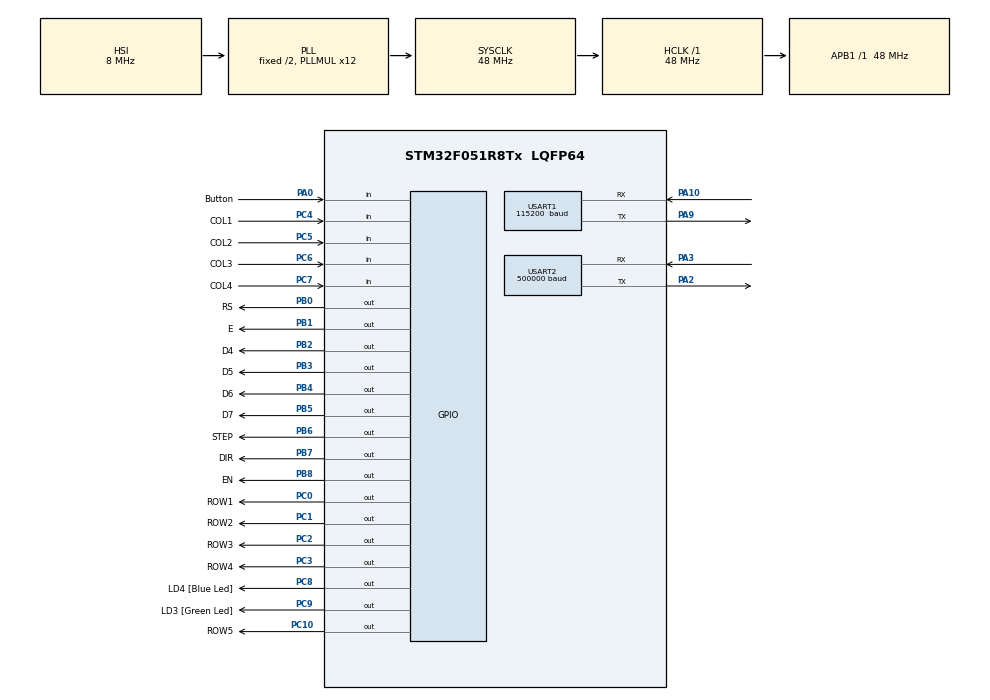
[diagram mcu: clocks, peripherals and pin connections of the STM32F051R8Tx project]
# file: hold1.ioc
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Mcu.Family=STM32F0
Mcu.Name=STM32F051R8Tx
Mcu.Package=LQFP64
NVIC.USART1_IRQn=true\:0\:0\:false\:false\:true\:true\:true\:true
NVIC.USART2_IRQn=true\:0\:0\:false\:false\:true\:true\:true\:true
PA0.GPIO_Label=Button
PA0.GPIO_PuPd=GPIO_PULLUP
PA0.Signal=GPIO_Input
PA10.Mode=Asynchronous
PA10.Signal=USART1_RX
PA13.GPIO_Label=SWDIO
PA13.Mode=Serial_Wire
PA13.Signal=SYS_SWDIO
PA14.GPIO_Label=SWCLK
PA14.Mode=Serial_Wire
PA14.Signal=SYS_SWCLK
PA2.Mode=Asynchronous
PA2.Signal=USART2_TX
PA3.Mode=Asynchronous
PA3.Signal=USART2_RX
PA9.Mode=Asynchronous
PA9.Signal=USART1_TX
PB0.GPIO_Label=RS
PB0.Signal=GPIO_Output
PB1.GPIO_Label=E
PB1.Signal=GPIO_Output
PB2.GPIO_Label=D4
PB2.Signal=GPIO_Output
PB3.GPIO_Label=D5
PB3.Signal=GPIO_Output
PB4.GPIO_Label=D6
PB4.Signal=GPIO_Output
PB5.GPIO_Label=D7
PB5.Signal=GPIO_Output
PB6.GPIO_Label=STEP
PB6.Signal=GPIO_Output
PB7.GPIO_Label=DIR
PB7.Signal=GPIO_Output
PB8.GPIO_Label=EN
PB8.PinState=GPIO_PIN_RESET
PB8.Signal=GPIO_Output
PC0.GPIO_Label=ROW1
PC0.Signal=GPIO_Output
PC1.GPIO_Label=ROW2
PC1.Signal=GPIO_Output
PC10.GPIO_Label=ROW5
PC10.Signal=GPIO_Output
PC2.GPIO_Label=ROW3
PC2.Signal=GPIO_Output
PC3.GPIO_Label=ROW4
PC3.Signal=GPIO_Output
PC4.GPIO_Label=COL1
PC4.GPIO_PuPd=GPIO_PULLUP
PC4.Signal=GPIO_Input
PC5.GPIO_Label=COL2
PC5.GPIO_PuPd=GPIO_PULLUP
PC5.Signal=GPIO_Input
PC6.GPIO_Label=COL3
PC6.GPIO_PuPd=GPIO_PULLUP
PC6.Signal=GPIO_Input
PC7.GPIO_Label=COL4
PC7.GPIO_PuPd=GPIO_PULLUP
PC7.Signal=GPIO_Input
PC8.GPIO_Label=LD4 [Blue Led]
PC8.Signal=GPIO_Output
PC9.GPIO_Label=LD3 [Green Led]
PC9.Signal=GPIO_Output
PF0-OSC_IN.Mode=HSE-External-Oscillator
PF0-OSC_IN.Signal=RCC_OSC_IN
PF1-OSC_OUT.Mode=HSE-External-Oscillator
PF1-OSC_OUT.Signal=RCC_OSC_OUT
ProjectManager.HeapSize=0x200
ProjectManager.StackSize=0x400
ProjectManager.TargetToolchain=STM32CubeIDE
RCC.AHBFreq_Value=48000000
RCC.APB1Freq_Value=48000000
RCC.APB1TimFreq_Value=48000000
RCC.HCLKFreq_Value=48000000
RCC.PLLMUL=RCC_PLL_MUL12
RCC.SYSCLKFreq_VALUE=48000000
RCC.SYSCLKSource=RCC_SYSCLKSOURCE_PLLCLK
USART1.BaudRate=115200 
USART1.VirtualMode-Asynchronous=VM_ASYNC
USART2.BaudRate=500000
USART2.Mode=MODE_TX_RX
USART2.VirtualMode-Asynchronous=VM_ASYNC
board=STM32F0DISCOVERY

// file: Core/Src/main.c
/* USER CODE BEGIN Header */
/**
  ******************************************************************************
  * @file           : main.c
  * @brief          : Main program body
  ******************************************************************************
  */
/* USER CODE END Header */
#include "main.h"
#include "usart.h"
#include "gpio.h"

/* USER CODE BEGIN Includes */
#include "Application.h"
#include "UART_Application.h"
#include "ButtonCore.h"
#include "LED_Controller.h"
#include <stdio.h>
#include "TMC2208_Registers.h"
#include "TMC2208_Driver.h"

/* USER CODE END Includes */

/* USER CODE BEGIN PV */
Button_t userButton;

TMC2208_t motor1;

/* USER CODE END PV */

void SystemClock_Config(void);

int main(void)
{

  /* MCU Configuration--------------------------------------------------------*/

  /* Reset of all peripherals, Initializes the Flash interface and the Systick. */
  HAL_Init();

  /* Configure the system clock */
  SystemClock_Config();

  /* USER CODE BEGIN SysInit */
  MX_USART1_UART_Init();
  MX_USART2_UART_Init();
  ApplicationInit();
  ButtonCore_Init(&userButton, Button_GPIO_Port, Button_Pin);

  /* USER CODE END SysInit */

  /* Initialize all configured peripherals */
  MX_GPIO_Init();
  MX_USART1_UART_Init();
  MX_USART2_UART_Init();

  /* Infinite loop */
  /* USER CODE BEGIN WHILE */

 while (1)
 {

//
	  ApplicationProcess();
	  ButtonCore_Update(&userButton);
	  LCDApplication_Process();

    /* USER CODE END WHILE */

  }
}

void SystemClock_Config(void)
{
  RCC_OscInitTypeDef RCC_OscInitStruct = {0};
  RCC_ClkInitTypeDef RCC_ClkInitStruct = {0};
  RCC_PeriphCLKInitTypeDef PeriphClkInit = {0};

  /** Initializes the RCC Oscillators according to the specified parameters
  * in the RCC_OscInitTypeDef structure.
  */
  RCC_OscInitStruct.OscillatorType = RCC_OSCILLATORTYPE_HSI;
  RCC_OscInitStruct.HSIState = RCC_HSI_ON;
  RCC_OscInitStruct.HSICalibrationValue = RCC_HSICALIBRATION_DEFAULT;
  RCC_OscInitStruct.PLL.PLLState = RCC_PLL_ON;
  RCC_OscInitStruct.PLL.PLLSource = RCC_PLLSOURCE_HSI;
  RCC_OscInitStruct.PLL.PLLMUL = RCC_PLL_MUL12;
  RCC_OscInitStruct.PLL.PREDIV = RCC_PREDIV_DIV1;
  if (HAL_RCC_OscConfig(&RCC_OscInitStruct) != HAL_OK)
  {
    Error_Handler();
  }

  /** Initializes the CPU, AHB and APB buses clocks
  */
  RCC_ClkInitStruct.ClockType = RCC_CLOCKTYPE_HCLK|RCC_CLOCKTYPE_SYSCLK
                              |RCC_CLOCKTYPE_PCLK1;
  RCC_ClkInitStruct.SYSCLKSource = RCC_SYSCLKSOURCE_PLLCLK;
  RCC_ClkInitStruct.AHBCLKDivider = RCC_SYSCLK_DIV1;
  RCC_ClkInitStruct.APB1CLKDivider = RCC_HCLK_DIV1;

  if (HAL_RCC_ClockConfig(&RCC_ClkInitStruct, FLASH_LATENCY_1) != HAL_OK)
  {
    Error_Handler();
  }
  PeriphClkInit.PeriphClockSelection = RCC_PERIPHCLK_USART1;
  PeriphClkInit.Usart1ClockSelection = RCC_USART1CLKSOURCE_PCLK1;
  if (HAL_RCCEx_PeriphCLKConfig(&PeriphClkInit) != HAL_OK)
  {
    Error_Handler();
  }
}

/* USER CODE BEGIN 4 */

void HAL_SYSTICK_Callback(void)
{

    HandleTick();
}

void HAL_UART_RxCpltCallback(UART_HandleTypeDef *huart)
{

    if(huart->Instance == USART1)
    {
        UART_OnByteReceived();
    }

}
/* USER CODE END 4 */

void Error_Handler(void)
{
  __disable_irq();
  while (1)
  {
  }
}
